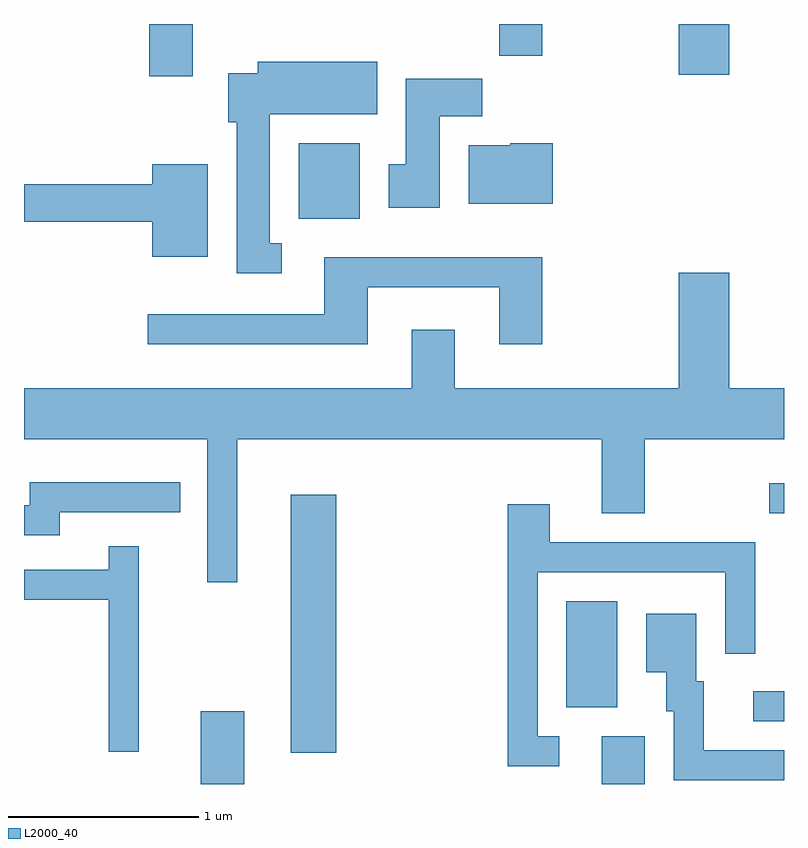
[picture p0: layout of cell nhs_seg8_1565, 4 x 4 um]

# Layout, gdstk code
import gdstk
lib = gdstk.Library(unit=1e-6, precision=1e-09)
def R(c, l, rs):  # rectangles x0, y0, x1, y1
    for r in rs: c.add(gdstk.rectangle(r[:2], r[2:], *l))
def P(c, l, *ps):  # polygons
    for p in ps: c.add(gdstk.Polygon(p, *l))
L2000_40 = (2000, 40)

nhs_seg8_1565 = lib.new_cell('nhs_seg8_1565')
R(nhs_seg8_1565, L2000_40, [(232.541,1872.342,232.769,1872.724), (234.651,1872.342,234.879,1872.594), (233.016,1872.506,233.254,1873.864), (235.448,1872.671,235.611,1872.829), (234.466,1872.746,234.734,1873.304), (235.533,1873.766,235.611,1873.924), (233.056,1875.316,233.379,1875.714), (232.271,1876.066,232.499,1876.342), (235.056,1876.076,235.324,1876.342), (234.111,1876.176,234.339,1876.342)])
P(nhs_seg8_1565, L2000_40, [(232.968,1875.189),(232.904,1875.189),(232.904,1875.866),(233.469,1875.866),(233.469,1876.144),(232.841,1876.144),(232.841,1876.084),(232.686,1876.084),(232.686,1875.826),(232.731,1875.826),(232.731,1875.031),(232.968,1875.031)],
  [(233.799,1875.856),(234.024,1875.856),(234.024,1876.054),(233.621,1876.054),(233.621,1875.604),(233.531,1875.604),(233.531,1875.376),(233.799,1875.376)],
  [(234.394,1875.714),(234.17,1875.714),(234.17,1875.704),(233.951,1875.704),(233.951,1875.396),(234.394,1875.396)],
  [(232.579,1875.604),(232.286,1875.604),(232.286,1875.499),(231.611,1875.499),(231.611,1875.301),(232.286,1875.301),(232.286,1875.116),(232.579,1875.116)],
  [(233.419,1874.956),(234.111,1874.956),(234.111,1874.656),(234.339,1874.656),(234.339,1875.114),(233.191,1875.114),(233.191,1874.814),(232.263,1874.814),(232.263,1874.656),(233.419,1874.656)],
  [(232.734,1874.156),(234.651,1874.156),(234.651,1873.766),(234.879,1873.766),(234.879,1874.156),(235.611,1874.156),(235.611,1874.424),(235.324,1874.424),(235.324,1875.034),(235.056,1875.034),(235.056,1874.424),(233.879,1874.424),(233.879,1874.734),(233.651,1874.734),(233.651,1874.424),(231.611,1874.424),(231.611,1874.156),(232.576,1874.156),(232.576,1873.403),(232.734,1873.403)],
  [(231.799,1873.771),(232.433,1873.771),(232.433,1873.929),(231.641,1873.929),(231.641,1873.809),(231.611,1873.809),(231.611,1873.651),(231.799,1873.651)],
  [(234.428,1872.594),(234.314,1872.594),(234.314,1873.456),(235.301,1873.456),(235.301,1873.028),(235.459,1873.028),(235.459,1873.614),(234.379,1873.614),(234.379,1873.814),(234.156,1873.814),(234.156,1872.436),(234.428,1872.436)],
  [(232.214,1873.593),(232.056,1873.593),(232.056,1873.469),(231.611,1873.469),(231.611,1873.311),(232.056,1873.311),(232.056,1872.513),(232.214,1872.513)],
  [(235.611,1872.519),(235.189,1872.519),(235.189,1872.884),(235.149,1872.884),(235.149,1873.239),(234.886,1873.239),(234.886,1872.931),(234.991,1872.931),(234.991,1872.726),(235.031,1872.726),(235.031,1872.361),(235.611,1872.361)])

lib.write_gds('nhs_seg8_1565.gds')
